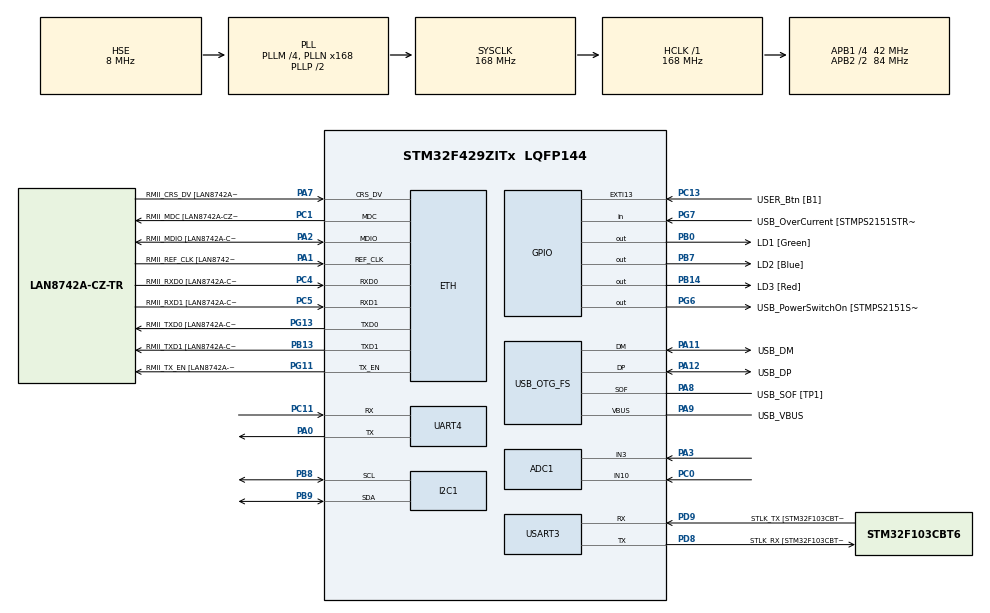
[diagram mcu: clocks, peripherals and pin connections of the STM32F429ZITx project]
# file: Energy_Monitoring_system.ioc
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ADC1.Channel-0\#ChannelRegularConversion=ADC_CHANNEL_3
ADC1.Channel-1\#ChannelRegularConversion=ADC_CHANNEL_10
ADC1.ContinuousConvMode=ENABLE
ADC1.NbrOfConversion=2
ADC1.NbrOfConversionFlag=1
ADC1.Rank-0\#ChannelRegularConversion=1
ADC1.Rank-1\#ChannelRegularConversion=2
ADC1.SamplingTime-0\#ChannelRegularConversion=ADC_SAMPLETIME_56CYCLES
ADC1.SamplingTime-1\#ChannelRegularConversion=ADC_SAMPLETIME_56CYCLES
ADC1.ScanConvMode=ENABLE
ADC1.master=1
ETH.MediaInterface=HAL_ETH_RMII_MODE
ETH.PHY_Name=LAN8742A_PHY_ADDRESS
ETH.PHY_Value=0
ETH.PhyAddress=0
Mcu.Family=STM32F4
Mcu.Name=STM32F429ZITx
Mcu.Package=LQFP144
NVIC.PriorityGroup=NVIC_PRIORITYGROUP_4
PA0/WKUP.Mode=Asynchronous
PA0/WKUP.Signal=UART4_TX
PA1.GPIO_Label=RMII_REF_CLK [LAN8742A-CZ-TR_REFCLK0]
PA1.Mode=RMII
PA1.Signal=ETH_REF_CLK
PA10.GPIO_Label=USB_ID
PA10.Signal=USB_OTG_FS_ID
PA11.GPIO_Label=USB_DM
PA11.Mode=Device_Only
PA11.Signal=USB_OTG_FS_DM
PA12.GPIO_Label=USB_DP
PA12.Mode=Device_Only
PA12.Signal=USB_OTG_FS_DP
PA13.GPIO_Label=TMS
PA13.Mode=Serial_Wire
PA13.Signal=SYS_JTMS-SWDIO
PA14.GPIO_Label=TCK
PA14.Mode=Serial_Wire
PA14.Signal=SYS_JTCK-SWCLK
PA2.GPIO_Label=RMII_MDIO [LAN8742A-CZ-TR_MDIO]
PA2.Mode=RMII
PA2.Signal=ETH_MDIO
PA3.Signal=ADCx_IN3
PC0.Signal=ADCx_IN10
PA7.GPIO_Label=RMII_CRS_DV [LAN8742A-CZ-TR_CRS_DV]
PA7.Mode=RMII
PA7.Signal=ETH_CRS_DV
PA8.GPIO_Label=USB_SOF [TP1]
PA8.Mode=Activate_SOF_FS
PA8.Signal=USB_OTG_FS_SOF
PA9.GPIO_Label=USB_VBUS
PA9.Mode=Activate_VBUS
PA9.Signal=USB_OTG_FS_VBUS
PB0.GPIO_Label=LD1 [Green]
PB0.Signal=GPIO_Output
PB13.GPIO_Label=RMII_TXD1 [LAN8742A-CZ-TR_TXD1]
PB13.Mode=RMII
PB13.Signal=ETH_TXD1
PB14.GPIO_Label=LD3 [Red]
PB14.Signal=GPIO_Output
PB7.GPIO_Label=LD2 [Blue]
PB7.Signal=GPIO_Output
PB8.Mode=I2C
PB8.Signal=I2C1_SCL
PB9.Mode=I2C
PB9.Signal=I2C1_SDA
PC1.GPIO_Label=RMII_MDC [LAN8742A-CZ-TR_MDC]
PC1.Mode=RMII
PC1.Signal=ETH_MDC
PC11.Mode=Asynchronous
PC11.Signal=UART4_RX
PC13.GPIO_Label=USER_Btn [B1]
PC13.Signal=GPXTI13
PC14/OSC32_IN.Mode=LSE-External-Oscillator
PC14/OSC32_IN.Signal=RCC_OSC32_IN
PC15/OSC32_OUT.Mode=LSE-External-Oscillator
PC15/OSC32_OUT.Signal=RCC_OSC32_OUT
PC4.GPIO_Label=RMII_RXD0 [LAN8742A-CZ-TR_RXD0]
PC4.Mode=RMII
PC4.Signal=ETH_RXD0
PC5.GPIO_Label=RMII_RXD1 [LAN8742A-CZ-TR_RXD1]
PC5.Mode=RMII
PC5.Signal=ETH_RXD1
PD8.GPIO_Label=STLK_RX [STM32F103CBT6_PA3]
PD8.Mode=Asynchronous
PD8.Signal=USART3_TX
PD9.GPIO_Label=STLK_TX [STM32F103CBT6_PA2]
PD9.Mode=Asynchronous
PD9.Signal=USART3_RX
PG11.GPIO_Label=RMII_TX_EN [LAN8742A-CZ-TR_TXEN]
PG11.Mode=RMII
PG11.Signal=ETH_TX_EN
PG13.GPIO_Label=RMII_TXD0 [LAN8742A-CZ-TR_TXD0]
PG13.Mode=RMII
PG13.Signal=ETH_TXD0
PG6.GPIO_Label=USB_PowerSwitchOn [STMPS2151STR_EN]
PG6.Signal=GPIO_Output
PG7.GPIO_Label=USB_OverCurrent [STMPS2151STR_FAULT]
PG7.Signal=GPIO_Input
PH0/OSC_IN.GPIO_Label=MCO [STM32F103CBT6_PA8]
PH0/OSC_IN.Mode=HSE-External-Clock-Source
PH0/OSC_IN.Signal=RCC_OSC_IN
PH1/OSC_OUT.Mode=HSE-External-Clock-Source
PH1/OSC_OUT.Signal=RCC_OSC_OUT
ProjectManager.HeapSize=0x200
ProjectManager.StackSize=0x400
ProjectManager.TargetToolchain=STM32CubeIDE
RCC.48MHZClocksFreq_Value=48000000
RCC.AHBFreq_Value=168000000
RCC.APB1CLKDivider=RCC_HCLK_DIV4
RCC.APB1Freq_Value=42000000
RCC.APB1TimFreq_Value=84000000
RCC.APB2CLKDivider=RCC_HCLK_DIV2
RCC.APB2Freq_Value=84000000
RCC.APB2TimCLKDivider=2
RCC.APB2TimFreq_Value=168000000
RCC.CortexFreq_Value=168000000
RCC.HCLKFreq_Value=168000000
RCC.HSE_VALUE=8000000
RCC.HSI_VALUE=16000000
RCC.PLLM=4
RCC.PLLMUL=RCC_PLL_MUL9
RCC.PLLN=168
RCC.PLLQ=7
RCC.PRESCALERUSB=RCC_USBCLKSOURCE_PLL_DIV1_5
RCC.SYSCLKFreq_VALUE=168000000
RCC.SYSCLKSource=RCC_SYSCLKSOURCE_PLLCLK
RCC.SYSCLKSourceVirtual=RCC_SYSCLKSOURCE_PLLCLK
RCC.USBFreq_Value=48000000
RCC.VCOOutputFreq_Value=336000000
SH.ADCx_IN3.0=ADC1_IN3,IN3
SH.ADCx_IN10.0=ADC1_IN10,IN10
UART4.VirtualMode=Asynchronous
USART3.VirtualMode=VM_ASYNC
USB_OTG_FS.VirtualMode=Device_Only
board=NUCLEO-F429ZI

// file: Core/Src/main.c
/* USER CODE BEGIN Header */
/**
  ******************************************************************************
  * @file           : main.c
  * @brief          : Main program body
  ******************************************************************************
  * @attention
  *
  * Copyright (c) 2026 STMicroelectronics.
  * All rights reserved.
  *
  * This software is licensed under terms that can be found in the LICENSE file
  * in the root directory of this software component.
  * If no LICENSE file comes with this software, it is provided AS-IS.
  *
  ******************************************************************************
  */
/* USER CODE END Header */
#include "main.h"
#include "string.h"
#include "lcd_i2c.h"
#include "FreeRTOS.h"
#include "task.h"
#include <math.h>
#include <stdio.h>
#include <stdarg.h>

/* USER CODE BEGIN PTD */
typedef struct
{
  float voltage;
  float current;
  float power;
} Measurement_t;

/* USER CODE END PTD */

/* USER CODE BEGIN PD */
#define ADC_MAX_VALUE       4095.0f
#define ADC_REF_VOLTAGE     3.3f
#define VOLTAGE_SCALE       4.8f
#define CURRENT_OFFSET      1.643f
#define CURRENT_SENS        0.1f
#define LCD_LINE_LENGTH     16U
#define ADC_SAMPLE_COUNT    200U
#define ADC_SAMPLE_DELAY_MS 1U
#define DISPLAY_DELAY_MS    300U
#define MEASUREMENT_TASK_STACK_WORDS 768U

/* USER CODE END PD */

ETH_TxPacketConfig TxConfig;
ETH_DMADescTypeDef  DMARxDscrTab[ETH_RX_DESC_CNT]; /* Ethernet Rx DMA Descriptors */
ETH_DMADescTypeDef  DMATxDscrTab[ETH_TX_DESC_CNT]; /* Ethernet Tx DMA Descriptors */

ADC_HandleTypeDef hadc1;

ETH_HandleTypeDef heth;

I2C_HandleTypeDef hi2c1;

UART_HandleTypeDef huart4;
UART_HandleTypeDef huart3;

PCD_HandleTypeDef hpcd_USB_OTG_FS;

/* USER CODE BEGIN PV */
static volatile uint16_t adc_values[2];

/* USER CODE END PV */

void SystemClock_Config(void);
static void MX_GPIO_Init(void);
static void MX_ADC1_Init(void);
static void MX_DMA_Init(void);
static void MX_ETH_Init(void);
static void MX_I2C1_Init(void);
static void MX_UART4_Init(void);
static void MX_USART3_UART_Init(void);
static void MX_USB_OTG_FS_PCD_Init(void);
/* USER CODE BEGIN PFP */
static void App_Init(void);
static float ADC_ToVoltage(uint16_t raw);
static Measurement_t Read_Measurement(void);
static void LCD_PrintLine(uint8_t row, const char *format, ...);
static void Display_Measurement(const Measurement_t *measurement);
static void MeasurementTask(void *argument);

/* USER CODE END PFP */

/* USER CODE BEGIN 0 */
static void App_Init(void)
{
  LCD_Init(&hi2c1);
  LCD_Clear();

  if (HAL_ADC_Start_DMA(&hadc1, (uint32_t*)adc_values, 2) != HAL_OK)
  {
    Error_Handler();
  }
}

static float ADC_ToVoltage(uint16_t raw)
{
  return ((float)(raw & 0x0FFFU) * ADC_REF_VOLTAGE) / ADC_MAX_VALUE;
}

static Measurement_t Read_Measurement(void)
{
  uint16_t voltage_samples[ADC_SAMPLE_COUNT];
  uint16_t current_samples[ADC_SAMPLE_COUNT];
  float voltage_offset = 0.0f;
  float voltage_square_sum = 0.0f;
  float current_square_sum = 0.0f;
  float power_sum = 0.0f;
  Measurement_t measurement = {0};

  for (uint32_t i = 0; i < ADC_SAMPLE_COUNT; i++)
  {
    voltage_samples[i] = adc_values[0];
    current_samples[i] = adc_values[1];
    voltage_offset += ADC_ToVoltage(voltage_samples[i]);
    vTaskDelay(pdMS_TO_TICKS(ADC_SAMPLE_DELAY_MS));
  }

  voltage_offset /= (float)ADC_SAMPLE_COUNT;

  for (uint32_t i = 0; i < ADC_SAMPLE_COUNT; i++)
  {
    float voltage = (ADC_ToVoltage(voltage_samples[i]) - voltage_offset) * VOLTAGE_SCALE;
    float current = (ADC_ToVoltage(current_samples[i]) - CURRENT_OFFSET) / CURRENT_SENS;

    voltage_square_sum += voltage * voltage;
    current_square_sum += current * current;
    power_sum += voltage * current;
  }

  measurement.voltage = sqrtf(voltage_square_sum / (float)ADC_SAMPLE_COUNT);
  measurement.current = sqrtf(current_square_sum / (float)ADC_SAMPLE_COUNT);
  measurement.power = power_sum / (float)ADC_SAMPLE_COUNT;

  return measurement;
}

static void LCD_PrintLine(uint8_t row, const char *format, ...)
{
  char formatted[LCD_LINE_LENGTH + 1U];
  char line[LCD_LINE_LENGTH + 1U];
  va_list args;

  va_start(args, format);
  vsnprintf(formatted, sizeof(formatted), format, args);
  va_end(args);

  memset(line, ' ', LCD_LINE_LENGTH);
  line[LCD_LINE_LENGTH] = '\0';
  memcpy(line, formatted, strlen(formatted));

  LCD_SetCursor(row, 0);
  LCD_Print(line);
}

static void Display_Measurement(const Measurement_t *measurement)
{
  LCD_PrintLine(0, "V:%5.1f I:%5.2f", measurement->voltage, measurement->current);
  LCD_PrintLine(1, "P:%7.2f W", measurement->power);
}

static void MeasurementTask(void *argument)
{
  (void)argument;

  for (;;)
  {
    Measurement_t measurement = Read_Measurement();

    Display_Measurement(&measurement);
    vTaskDelay(pdMS_TO_TICKS(DISPLAY_DELAY_MS));
  }
}

/* USER CODE END 0 */

int main(void)
{

  /* MCU Configuration--------------------------------------------------------*/

  /* Reset of all peripherals, Initializes the Flash interface and the Systick. */
  HAL_Init();

  /* Configure the system clock */
  SystemClock_Config();

  /* Initialize all configured peripherals */
  MX_GPIO_Init();
  MX_DMA_Init();
  MX_ADC1_Init();
  MX_ETH_Init();
  MX_I2C1_Init();
  MX_UART4_Init();
  MX_USART3_UART_Init();
  MX_USB_OTG_FS_PCD_Init();
  /* USER CODE BEGIN 2 */
  App_Init();
  if (xTaskCreate(MeasurementTask, "measure", MEASUREMENT_TASK_STACK_WORDS, NULL,
                  tskIDLE_PRIORITY + 1U, NULL) != pdPASS)
  {
    Error_Handler();
  }

  vTaskStartScheduler();
  /* USER CODE END 2 */
  while(1)
  {
    Error_Handler();
  }
}
void SystemClock_Config(void)
{
  RCC_OscInitTypeDef RCC_OscInitStruct = {0};
  RCC_ClkInitTypeDef RCC_ClkInitStruct = {0};

  /** Configure the main internal regulator output voltage
  */
  __HAL_RCC_PWR_CLK_ENABLE();
  __HAL_PWR_VOLTAGESCALING_CONFIG(PWR_REGULATOR_VOLTAGE_SCALE1);

  /** Initializes the RCC Oscillators according to the specified parameters
  * in the RCC_OscInitTypeDef structure.
  */
  RCC_OscInitStruct.OscillatorType = RCC_OSCILLATORTYPE_HSE;
  RCC_OscInitStruct.HSEState = RCC_HSE_BYPASS;
  RCC_OscInitStruct.PLL.PLLState = RCC_PLL_ON;
  RCC_OscInitStruct.PLL.PLLSource = RCC_PLLSOURCE_HSE;
  RCC_OscInitStruct.PLL.PLLM = 4;
  RCC_OscInitStruct.PLL.PLLN = 168;
  RCC_OscInitStruct.PLL.PLLP = RCC_PLLP_DIV2;
  RCC_OscInitStruct.PLL.PLLQ = 7;
  if (HAL_RCC_OscConfig(&RCC_OscInitStruct) != HAL_OK)
  {
    Error_Handler();
  }

  /** Initializes the CPU, AHB and APB buses clocks
  */
  RCC_ClkInitStruct.ClockType = RCC_CLOCKTYPE_HCLK|RCC_CLOCKTYPE_SYSCLK
                              |RCC_CLOCKTYPE_PCLK1|RCC_CLOCKTYPE_PCLK2;
  RCC_ClkInitStruct.SYSCLKSource = RCC_SYSCLKSOURCE_PLLCLK;
  RCC_ClkInitStruct.AHBCLKDivider = RCC_SYSCLK_DIV1;
  RCC_ClkInitStruct.APB1CLKDivider = RCC_HCLK_DIV4;
  RCC_ClkInitStruct.APB2CLKDivider = RCC_HCLK_DIV2;

  if (HAL_RCC_ClockConfig(&RCC_ClkInitStruct, FLASH_LATENCY_5) != HAL_OK)
  {
    Error_Handler();
  }
}

static void MX_ADC1_Init(void)
{

  ADC_ChannelConfTypeDef sConfig = {0};

  /** Configure the global features of the ADC (Clock, Resolution, Data Alignment and number of conversion)
  */
  hadc1.Instance = ADC1;
  hadc1.Init.ClockPrescaler = ADC_CLOCK_SYNC_PCLK_DIV4;
  hadc1.Init.Resolution = ADC_RESOLUTION_12B;
  hadc1.Init.ScanConvMode = ENABLE;
  hadc1.Init.ContinuousConvMode = ENABLE;
  hadc1.Init.DiscontinuousConvMode = DISABLE;
  hadc1.Init.ExternalTrigConvEdge = ADC_EXTERNALTRIGCONVEDGE_NONE;
  hadc1.Init.ExternalTrigConv = ADC_SOFTWARE_START;
  hadc1.Init.DataAlign = ADC_DATAALIGN_RIGHT;
  hadc1.Init.NbrOfConversion = 2;
  hadc1.Init.DMAContinuousRequests = ENABLE;
  hadc1.Init.EOCSelection = ADC_EOC_SEQ_CONV;
  if (HAL_ADC_Init(&hadc1) != HAL_OK)
  {
    Error_Handler();
  }

  /** Configure for the selected ADC regular channel its corresponding rank in the sequencer and its sample time.
  */
  sConfig.Channel = ADC_CHANNEL_3;
  sConfig.Rank = 1;
  sConfig.SamplingTime = ADC_SAMPLETIME_56CYCLES;
  if (HAL_ADC_ConfigChannel(&hadc1, &sConfig) != HAL_OK)
  {
    Error_Handler();
  }

  /** Configure for the selected ADC regular channel its corresponding rank in the sequencer and its sample time.
  */
  sConfig.Channel = ADC_CHANNEL_10;
  sConfig.Rank = 2;
  sConfig.SamplingTime = ADC_SAMPLETIME_56CYCLES;
  if (HAL_ADC_ConfigChannel(&hadc1, &sConfig) != HAL_OK)
  {
    Error_Handler();
  }

}
static void MX_DMA_Init(void)
{
    __HAL_RCC_DMA2_CLK_ENABLE();
}
static void MX_ETH_Init(void)
{

   static uint8_t MACAddr[6];

  heth.Instance = ETH;
  MACAddr[0] = 0x00;
  MACAddr[1] = 0x80;
  MACAddr[2] = 0xE1;
  MACAddr[3] = 0x00;
  MACAddr[4] = 0x00;
  MACAddr[5] = 0x00;
  heth.Init.MACAddr = &MACAddr[0];
  heth.Init.MediaInterface = HAL_ETH_RMII_MODE;
  heth.Init.TxDesc = DMATxDscrTab;
  heth.Init.RxDesc = DMARxDscrTab;
  heth.Init.RxBuffLen = 1524;

  if (HAL_ETH_Init(&heth) != HAL_OK)
  {
    Error_Handler();
  }

  memset(&TxConfig, 0 , sizeof(ETH_TxPacketConfig));
  TxConfig.Attributes = ETH_TX_PACKETS_FEATURES_CSUM | ETH_TX_PACKETS_FEATURES_CRCPAD;
  TxConfig.ChecksumCtrl = ETH_CHECKSUM_IPHDR_PAYLOAD_INSERT_PHDR_CALC;
  TxConfig.CRCPadCtrl = ETH_CRC_PAD_INSERT;

}

static void MX_I2C1_Init(void)
{

  hi2c1.Instance = I2C1;
  hi2c1.Init.ClockSpeed = 100000;
  hi2c1.Init.DutyCycle = I2C_DUTYCYCLE_2;
  hi2c1.Init.OwnAddress1 = 0;
  hi2c1.Init.AddressingMode = I2C_ADDRESSINGMODE_7BIT;
  hi2c1.Init.DualAddressMode = I2C_DUALADDRESS_DISABLE;
  hi2c1.Init.OwnAddress2 = 0;
  hi2c1.Init.GeneralCallMode = I2C_GENERALCALL_DISABLE;
  hi2c1.Init.NoStretchMode = I2C_NOSTRETCH_DISABLE;
  if (HAL_I2C_Init(&hi2c1) != HAL_OK)
  {
    Error_Handler();
  }

  /** Configure Analogue filter
  */
  if (HAL_I2CEx_ConfigAnalogFilter(&hi2c1, I2C_ANALOGFILTER_ENABLE) != HAL_OK)
  {
    Error_Handler();
  }

  /** Configure Digital filter
  */
  if (HAL_I2CEx_ConfigDigitalFilter(&hi2c1, 0) != HAL_OK)
  {
    Error_Handler();
  }

}

static void MX_UART4_Init(void)
{

  huart4.Instance = UART4;
  huart4.Init.BaudRate = 115200;
  huart4.Init.WordLength = UART_WORDLENGTH_8B;
  huart4.Init.StopBits = UART_STOPBITS_1;
  huart4.Init.Parity = UART_PARITY_NONE;
  huart4.Init.Mode = UART_MODE_TX_RX;
  huart4.Init.HwFlowCtl = UART_HWCONTROL_NONE;
  huart4.Init.OverSampling = UART_OVERSAMPLING_16;
  if (HAL_UART_Init(&huart4) != HAL_OK)
  {
    Error_Handler();
  }

}

static void MX_USART3_UART_Init(void)
{

  huart3.Instance = USART3;
  huart3.Init.BaudRate = 115200;
  huart3.Init.WordLength = UART_WORDLENGTH_8B;
  huart3.Init.StopBits = UART_STOPBITS_1;
  huart3.Init.Parity = UART_PARITY_NONE;
  huart3.Init.Mode = UART_MODE_TX_RX;
  huart3.Init.HwFlowCtl = UART_HWCONTROL_NONE;
  huart3.Init.OverSampling = UART_OVERSAMPLING_16;
  if (HAL_UART_Init(&huart3) != HAL_OK)
  {
    Error_Handler();
  }

}

static void MX_USB_OTG_FS_PCD_Init(void)
{

  hpcd_USB_OTG_FS.Instance = USB_OTG_FS;
  hpcd_USB_OTG_FS.Init.dev_endpoints = 4;
  hpcd_USB_OTG_FS.Init.speed = PCD_SPEED_FULL;
  hpcd_USB_OTG_FS.Init.dma_enable = DISABLE;
  hpcd_USB_OTG_FS.Init.phy_itface = PCD_PHY_EMBEDDED;
  hpcd_USB_OTG_FS.Init.Sof_enable = ENABLE;
  hpcd_USB_OTG_FS.Init.low_power_enable = DISABLE;
  hpcd_USB_OTG_FS.Init.lpm_enable = DISABLE;
  hpcd_USB_OTG_FS.Init.vbus_sensing_enable = ENABLE;
  hpcd_USB_OTG_FS.Init.use_dedicated_ep1 = DISABLE;
  if (HAL_PCD_Init(&hpcd_USB_OTG_FS) != HAL_OK)
  {
    Error_Handler();
  }

}

static void MX_GPIO_Init(void)
{
  GPIO_InitTypeDef GPIO_InitStruct = {0};

  /* GPIO Ports Clock Enable */
  __HAL_RCC_GPIOC_CLK_ENABLE();
  __HAL_RCC_GPIOH_CLK_ENABLE();
  __HAL_RCC_GPIOA_CLK_ENABLE();
  __HAL_RCC_GPIOB_CLK_ENABLE();
  __HAL_RCC_GPIOD_CLK_ENABLE();
  __HAL_RCC_GPIOG_CLK_ENABLE();

  /*Configure GPIO pin Output Level */
  HAL_GPIO_WritePin(GPIOB, LD1_Pin|LD3_Pin|LD2_Pin, GPIO_PIN_RESET);

  /*Configure GPIO pin Output Level */
  HAL_GPIO_WritePin(USB_PowerSwitchOn_GPIO_Port, USB_PowerSwitchOn_Pin, GPIO_PIN_RESET);

  /*Configure GPIO pin : USER_Btn_Pin */
  GPIO_InitStruct.Pin = USER_Btn_Pin;
  GPIO_InitStruct.Mode = GPIO_MODE_IT_RISING;
  GPIO_InitStruct.Pull = GPIO_NOPULL;
  HAL_GPIO_Init(USER_Btn_GPIO_Port, &GPIO_InitStruct);

  /*Configure GPIO pins : LD1_Pin LD3_Pin LD2_Pin */
  GPIO_InitStruct.Pin = LD1_Pin|LD3_Pin|LD2_Pin;
  GPIO_InitStruct.Mode = GPIO_MODE_OUTPUT_PP;
  GPIO_InitStruct.Pull = GPIO_NOPULL;
  GPIO_InitStruct.Speed = GPIO_SPEED_FREQ_LOW;
  HAL_GPIO_Init(GPIOB, &GPIO_InitStruct);

  /*Configure GPIO pin : USB_PowerSwitchOn_Pin */
  GPIO_InitStruct.Pin = USB_PowerSwitchOn_Pin;
  GPIO_InitStruct.Mode = GPIO_MODE_OUTPUT_PP;
  GPIO_InitStruct.Pull = GPIO_NOPULL;
  GPIO_InitStruct.Speed = GPIO_SPEED_FREQ_LOW;
  HAL_GPIO_Init(USB_PowerSwitchOn_GPIO_Port, &GPIO_InitStruct);

  /*Configure GPIO pin : USB_OverCurrent_Pin */
  GPIO_InitStruct.Pin = USB_OverCurrent_Pin;
  GPIO_InitStruct.Mode = GPIO_MODE_INPUT;
  GPIO_InitStruct.Pull = GPIO_NOPULL;
  HAL_GPIO_Init(USB_OverCurrent_GPIO_Port, &GPIO_InitStruct);

}

void Error_Handler(void)
{
  __disable_irq();
  while (1)
  {
  }
}

void vApplicationMallocFailedHook(void)
{
  Error_Handler();
}

void vApplicationStackOverflowHook(TaskHandle_t xTask, char *pcTaskName)
{
  (void)xTask;
  (void)pcTaskName;
  Error_Handler();
}
